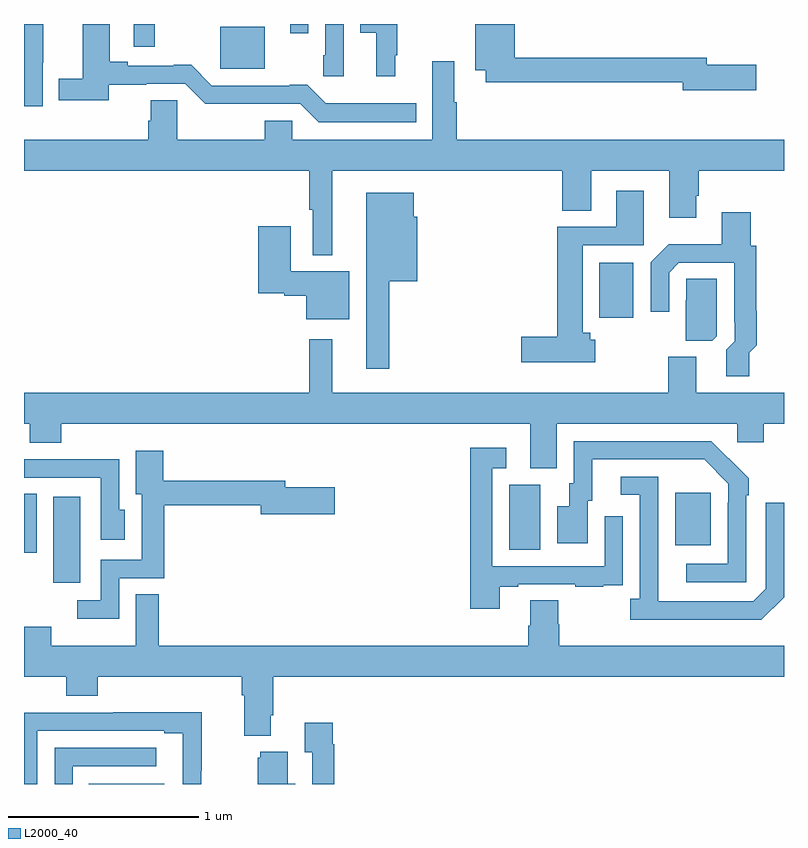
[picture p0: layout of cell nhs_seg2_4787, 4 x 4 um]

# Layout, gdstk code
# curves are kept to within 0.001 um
import gdstk
lib = gdstk.Library(unit=1e-6, precision=1e-09)
def R(c, l, rs):  # rectangles x0, y0, x1, y1
    for r in rs: c.add(gdstk.rectangle(r[:2], r[2:], *l))
def P(c, l, *ps):  # polygons
    for p in ps: c.add(gdstk.Polygon(p, *l))
L2000_40 = (2000, 40)

nhs_seg2_4787 = lib.new_cell('nhs_seg2_4787')
R(nhs_seg2_4787, L2000_40, [(373.342,585.8,373.738,585.802), (373.154,586.86,373.297,587.311), (373,587.016,373.066,587.327), (375.554,587.032,375.718,587.376), (376.427,587.057,376.615,587.332), (376.028,588.254,376.207,588.544), (374.033,589.565,374.266,589.786), (373.578,589.68,373.687,589.8), (374.402,589.752,374.496,589.8)])
P(nhs_seg2_4787, L2000_40, [(374.682,589.8),(374.586,589.8),(374.586,589.636),(374.574,589.636),(374.574,589.524),(374.682,589.524)],
  [(375.064,589.384),(374.589,589.383),(374.491,589.481),(374.399,589.481),(374.399,589.476),(373.989,589.476),(373.879,589.586),(373.787,589.586),(373.787,589.581),(373.546,589.581),(373.546,589.601),(373.45,589.601),(373.45,589.8),(373.31,589.8),(373.31,589.511),(373.183,589.511),(373.183,589.4),(373.447,589.4),(373.447,589.48),(373.644,589.48),(373.644,589.485),(373.848,589.485),(373.955,589.379),(374.454,589.38),(374.551,589.283),(375.064,589.283)],
  [(373.098,589.597),(373.1,589.597),(373.1,589.8),(373.002,589.8),(373.002,589.464),(373,589.464),(373,589.367),(373.098,589.367)],
  [(376.855,589.586),(376.594,589.586),(376.594,589.622),(375.583,589.622),(375.583,589.8),(375.374,589.8),(375.374,589.556),(375.431,589.556),(375.431,589.494),(376.466,589.494),(376.466,589.451),(376.855,589.451)],
  [(374.954,589.636),(374.965,589.636),(374.965,589.8),(374.771,589.8),(374.771,589.753),(374.855,589.753),(374.855,589.524),(374.954,589.524)],
  [(374.623,589.028),(375.833,589.028),(375.833,588.817),(375.985,588.817),(375.985,589.028),(376.397,589.028),(376.397,588.78),(376.537,588.78),(376.537,588.895),(376.55,588.895),(376.55,589.028),(377,589.028),(377,589.192),(375.278,589.192),(375.278,589.389),(375.265,589.389),(375.265,589.603),(375.149,589.603),(375.149,589.192),(374.412,589.192),(374.412,589.29),(374.266,589.29),(374.266,589.192),(373.806,589.192),(373.806,589.4),(373.667,589.4),(373.667,589.29),(373.655,589.29),(373.655,589.192),(373,589.192),(373,589.028),(374.502,589.028),(374.502,588.823),(374.519,588.823),(374.519,588.584),(374.623,588.584)],
  [(376.006,588.138),(375.981,588.138),(375.981,588.174),(375.94,588.174),(375.94,588.636),(376.261,588.636),(376.261,588.922),(376.118,588.922),(376.118,588.732),(375.806,588.732),(375.806,588.155),(375.618,588.155),(375.618,588.02),(376.006,588.02)],
  [(374.923,588.446),(375.07,588.446),(375.07,588.786),(375.052,588.786),(375.052,588.913),(374.801,588.913),(374.801,587.985),(374.923,587.985)],
  [(376.817,588.069),(376.856,588.108),(376.856,588.29),(376.853,588.29),(376.853,588.633),(376.826,588.633),(376.826,588.808),(376.673,588.808),(376.673,588.64),(376.393,588.64),(376.299,588.546),(376.299,588.285),(376.395,588.285),(376.395,588.492),(376.446,588.543),(376.737,588.543),(376.737,588.229),(376.74,588.229),(376.74,588.129),(376.697,588.086),(376.697,587.946),(376.817,587.946)],
  [(374.713,588.499),(374.404,588.499),(374.404,588.736),(374.234,588.736),(374.234,588.383),(374.37,588.383),(374.37,588.371),(374.486,588.371),(374.486,588.245),(374.713,588.245)],
  [(376.647,588.156),(376.647,588.458),(376.485,588.458),(376.485,588.347),(376.484,588.347),(376.484,588.133),(376.623,588.133)],
  [(375.805,587.696),(376.755,587.696),(376.755,587.598),(376.894,587.598),(376.894,587.696),(377,587.696),(377,587.86),(376.537,587.86),(376.537,588.048),(376.39,588.048),(376.39,587.86),(374.623,587.86),(374.623,588.142),(374.502,588.142),(374.502,587.86),(373,587.86),(373,587.696),(373.031,587.696),(373.031,587.597),(373.196,587.597),(373.196,587.696),(375.665,587.696),(375.665,587.461),(375.805,587.461)],
  [(376.8,587.321),(376.815,587.321),(376.815,587.409),(376.618,587.604),(375.894,587.604),(375.894,587.382),(375.869,587.382),(375.869,587.263),(375.806,587.263),(375.806,587.067),(375.967,587.067),(375.967,587.292),(375.991,587.292),(375.991,587.508),(376.579,587.508),(376.707,587.379),(376.707,587.279),(376.704,587.279),(376.704,586.959),(376.485,586.959),(376.485,586.863),(376.8,586.863)],
  [(375.505,586.839),(375.601,586.839),(375.601,586.851),(375.901,586.851),(375.901,586.839),(376.049,586.839),(376.049,586.845),(376.151,586.845),(376.151,586.954),(376.152,586.954),(376.152,587.209),(376.056,587.209),(376.056,586.947),(375.465,586.947),(375.465,587.463),(375.538,587.463),(375.538,587.569),(375.349,587.569),(375.349,586.722),(375.505,586.722)],
  [(373.5,586.884),(373.738,586.884),(373.738,587.266),(374.246,587.266),(374.246,587.219),(374.635,587.219),(374.635,587.361),(374.374,587.361),(374.374,587.395),(373.733,587.395),(373.733,587.554),(373.589,587.554),(373.589,587.325),(373.619,587.325),(373.619,586.98),(373.404,586.98),(373.404,586.767),(373.281,586.767),(373.281,586.67),(373.5,586.67)],
  [(373.531,587.244),(373.5,587.244),(373.5,587.51),(373.279,587.51),(373.279,587.508),(373,587.508),(373,587.412),(373.404,587.412),(373.404,587.085),(373.531,587.085)],
  [(377,586.784),(377,587.281),(376.905,587.281),(376.905,586.827),(376.839,586.761),(376.339,586.761),(376.338,587.418),(376.14,587.418),(376.14,587.322),(376.242,587.322),(376.242,586.774),(376.191,586.774),(376.191,586.664),(376.88,586.664)],
  [(374.299,586.162),(374.312,586.162),(374.312,586.364),(377,586.364),(377,586.528),(375.818,586.528),(375.818,586.641),(375.813,586.641),(375.813,586.766),(375.665,586.766),(375.665,586.634),(375.653,586.634),(375.653,586.528),(373.708,586.528),(373.708,586.799),(373.589,586.799),(373.589,586.528),(373.143,586.528),(373.143,586.627),(373,586.627),(373,586.364),(373.223,586.364),(373.223,586.265),(373.388,586.265),(373.388,586.364),(374.147,586.364),(374.147,586.268),(374.159,586.268),(374.159,586.055),(374.299,586.055)],
  [(373.071,586.08),(373.739,586.08),(373.739,586.068),(373.836,586.068),(373.836,585.8),(373.932,585.8),(373.932,585.871),(373.935,585.871),(373.935,586.178),(373.471,586.178),(373.471,586.176),(373,586.176),(373,585.8),(373.071,585.8)],
  [(374.633,586.01),(374.626,586.01),(374.626,586.123),(374.477,586.123),(374.477,585.967),(374.517,585.967),(374.517,585.8),(374.633,585.8)],
  [(373.257,585.894),(373.696,585.894),(373.696,585.99),(373.161,585.99),(373.161,585.8),(373.257,585.8)],
  [(374.428,585.802),(374.389,585.802),(374.389,585.97),(374.243,585.97),(374.243,585.939),(374.231,585.939),(374.231,585.8),(374.428,585.8)])

lib.write_gds('nhs_seg2_4787.gds')
